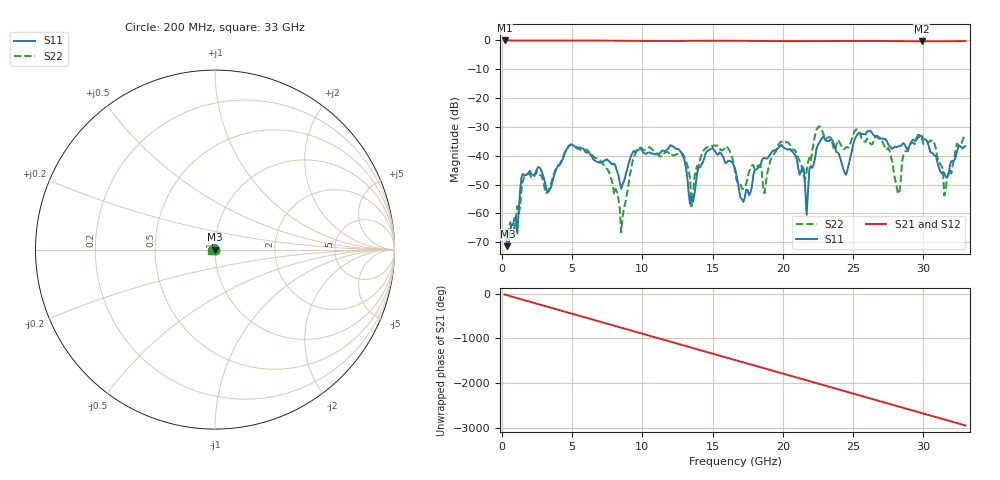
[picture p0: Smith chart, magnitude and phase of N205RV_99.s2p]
# GHZ S RI R 50
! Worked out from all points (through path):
!   329 points, 200 MHz to 33 GHz, reference 50 ohm
!   highest |S21| = -0.02 dB at 200 MHz (marker M1); lowest = -0.3 dB at 29.9 GHz (marker M2)
!   group delay of S21, straight-line fit = 248 ps
!   lowest |S11| = -71.3 dB at 400 MHz (marker M3), VSWR 1.00, Z = 50 + j0.0128 ohm
!   |S11| at or under -10 dB: start of sweep to end of sweep
!   |S22| runs from -67.9 to -29.7 dB; largest |S21 - S12| = 0.0019
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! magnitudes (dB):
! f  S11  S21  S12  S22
! 200 MHz  -67.0  0.0  0.0  -67.9
! 400 MHz  -71.3  0.0  0.0  -67.4
! 1.5 GHz  -46.2  -0.1  -0.1  -48.8
! 5.7 GHz  -37.4  -0.1  -0.1  -38.4
! 7.6 GHz  -41.8  -0.1  -0.1  -45.3
! 8.5 GHz  -51.5  -0.1  -0.1  -66.5
! 9.6 GHz  -38.3  -0.2  -0.2  -38.0
! 11.2 GHz  -39.3  -0.2  -0.2  -40.0
! 12.8 GHz  -39.1  -0.2  -0.2  -39.1
! 13.4 GHz  -56.7  -0.1  -0.2  -47.8
! 14.6 GHz  -38.5  -0.1  -0.1  -37.1
! 16.6 GHz  -44.4  -0.1  -0.1  -45.3
! 17.2 GHz  -56.0  -0.1  -0.1  -51.5
! 20.5 GHz  -37.6  -0.3  -0.3  -36.2
! 21.5 GHz  -45.0  -0.3  -0.3  -47.0
! 21.7 GHz  -60.5  -0.3  -0.3  -45.4
! 22.1 GHz  -44.2  -0.3  -0.3  -38.2
! 27.6 GHz  -36.6  -0.2  -0.2  -38.3
! 28.2 GHz  -36.8  -0.3  -0.3  -53.2
! 29.9 GHz  -33.1  -0.3  -0.3  -33.7
! 31.5 GHz  -46.0  -0.3  -0.3  -53.8
! 33 GHz  -36.7  -0.2  -0.2  -33.1
